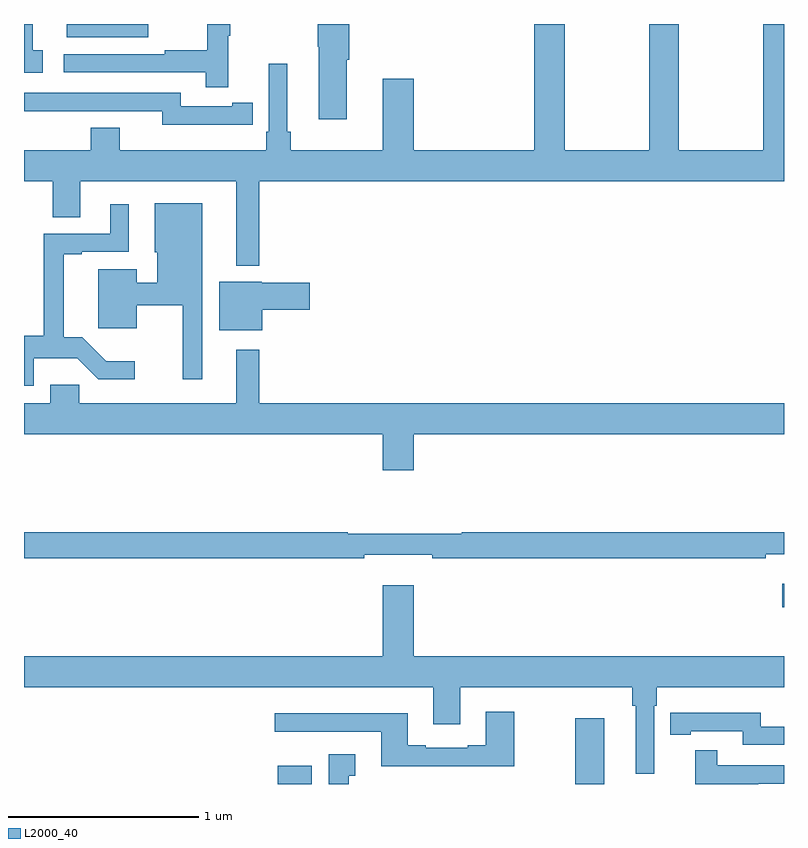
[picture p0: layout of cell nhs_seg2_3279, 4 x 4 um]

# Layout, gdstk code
import gdstk
lib = gdstk.Library(unit=1e-6, precision=1e-09)
def R(c, l, rs):  # rectangles x0, y0, x1, y1
    for r in rs: c.add(gdstk.rectangle(r[:2], r[2:], *l))
def P(c, l, *ps):  # polygons
    for p in ps: c.add(gdstk.Polygon(p, *l))
L2000_40 = (2000, 40)

nhs_seg2_3279 = lib.new_cell('nhs_seg2_3279')
R(nhs_seg2_3279, L2000_40, [(284.336,641.8,284.515,641.896), (285.901,641.8,286.054,642.145), (286.992,642.731,287,642.853), (283.226,645.731,283.654,645.8)])
P(nhs_seg2_3279, L2000_40, [(284.698,645.612),(284.711,645.612),(284.711,645.8),(284.545,645.8),(284.545,645.679),(284.552,645.679),(284.552,645.3),(284.698,645.3)],
  [(284.239,644.972),(287,644.972),(287,645.8),(286.891,645.8),(286.891,645.136),(286.446,645.136),(286.446,645.8),(286.291,645.8),(286.291,645.136),(285.846,645.136),(285.846,645.8),(285.686,645.8),(285.686,645.136),(285.052,645.136),(285.052,645.511),(284.888,645.511),(284.888,645.136),(284.405,645.136),(284.405,645.232),(284.386,645.232),(284.386,645.592),(284.289,645.592),(284.289,645.232),(284.276,645.232),(284.276,645.136),(283.504,645.136),(283.504,645.253),(283.352,645.253),(283.352,645.136),(283,645.136),(283,644.972),(283.15,644.972),(283.15,644.782),(283.297,644.782),(283.297,644.972),(284.117,644.972),(284.117,644.528),(284.239,644.528)],
  [(284.075,645.739),(284.086,645.739),(284.086,645.8),(283.965,645.8),(283.965,645.662),(283.741,645.662),(283.741,645.642),(283.209,645.642),(283.209,645.546),(283.957,645.546),(283.957,645.468),(284.075,645.468)],
  [(283.099,645.663),(283.046,645.663),(283.046,645.8),(283,645.8),(283,645.543),(283.099,645.543)],
  [(284.096,645.27),(284.204,645.27),(284.204,645.386),(284.096,645.386),(284.096,645.366),(283.824,645.366),(283.824,645.438),(283,645.438),(283,645.341),(283.268,645.341),(283.268,645.342),(283.728,645.342),(283.728,645.269),(284.096,645.269)],
  [(283.939,644.857),(283.688,644.857),(283.688,644.598),(283.7,644.598),(283.7,644.437),(283.594,644.437),(283.594,644.509),(283.391,644.509),(283.391,644.199),(283.594,644.199),(283.594,644.32),(283.835,644.32),(283.835,643.929),(283.939,643.929)],
  [(283.05,644.042),(283.279,644.042),(283.392,643.929),(283.582,643.929),(283.582,644.026),(283.433,644.026),(283.307,644.152),(283.208,644.152),(283.208,644.589),(283.303,644.589),(283.303,644.601),(283.552,644.601),(283.552,644.851),(283.454,644.851),(283.454,644.697),(283.105,644.697),(283.105,644.159),(283,644.159),(283,643.896),(283.05,643.896)],
  [(284.254,644.296),(284.503,644.296),(284.503,644.438),(284.25,644.438),(284.25,644.443),(284.027,644.443),(284.027,644.189),(284.254,644.189)],
  [(285.052,643.64),(287,643.64),(287,643.804),(284.239,643.804),(284.239,644.086),(284.117,644.086),(284.117,643.804),(283.291,643.804),(283.291,643.902),(283.139,643.902),(283.139,643.804),(283,643.804),(283,643.64),(284.888,643.64),(284.888,643.452),(285.052,643.452)],
  [(284.792,643.007),(285.148,643.007),(285.148,642.988),(286.904,642.988),(286.904,643.008),(287,643.008),(287,643.124),(285.305,643.124),(285.305,643.117),(284.705,643.117),(284.705,643.124),(283,643.124),(283,642.988),(284.792,642.988)],
  [(286.317,642.212),(286.331,642.212),(286.331,642.308),(287,642.308),(287,642.472),(285.052,642.472),(285.052,642.847),(284.888,642.847),(284.888,642.472),(283,642.472),(283,642.308),(285.155,642.308),(285.155,642.114),(285.295,642.114),(285.295,642.308),(286.201,642.308),(286.201,642.212),(286.22,642.212),(286.22,641.853),(286.317,641.853)],
  [(285.579,642.181),(285.431,642.181),(285.431,642.004),(285.335,642.004),(285.335,641.991),(285.115,641.991),(285.115,642.004),(285.019,642.004),(285.019,642.172),(284.319,642.172),(284.319,642.075),(284.879,642.075),(284.879,641.894),(285.579,641.894)],
  [(287,642.102),(286.878,642.102),(286.878,642.175),(286.51,642.175),(286.51,642.174),(286.402,642.174),(286.402,642.058),(286.51,642.058),(286.51,642.078),(286.782,642.078),(286.782,642.006),(287,642.006)],
  [(286.865,641.802),(287,641.802),(287,641.898),(286.649,641.898),(286.649,641.977),(286.532,641.977),(286.532,641.8),(286.865,641.8)],
  [(284.71,641.843),(284.743,641.843),(284.743,641.956),(284.603,641.956),(284.603,641.8),(284.71,641.8)])

lib.write_gds('nhs_seg2_3279.gds')
